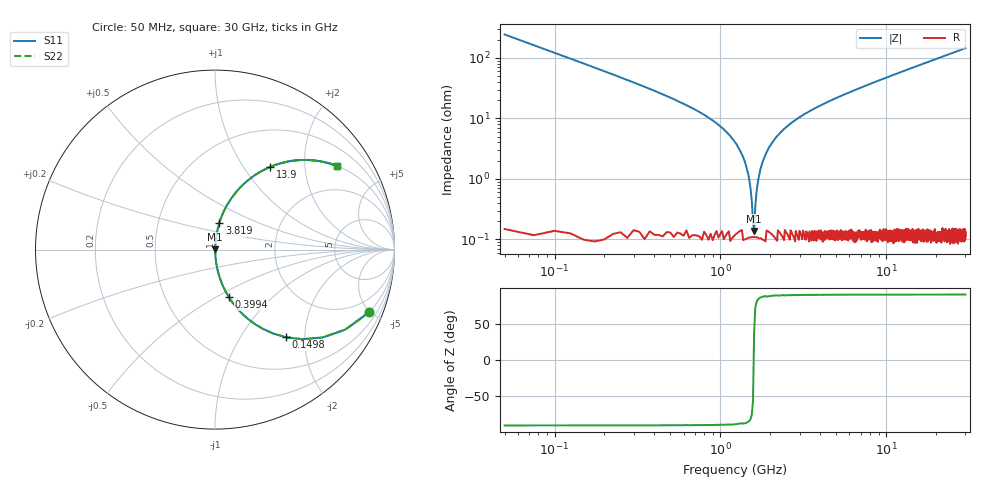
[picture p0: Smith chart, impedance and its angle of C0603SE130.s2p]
!	AVX Thin Film Operation 	Date: April 2014
!	Description: Accu-P® Series, Thin Film  SMD RF Capacitor
!	Part Number: 06035J130FBSTR
# MHZ S MA R 50
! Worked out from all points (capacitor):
!   1201 points, 50 MHz to 30 GHz, reference 50 ohm
!   read as one part in series: C = 13 pF near 199.8 MHz
!   lowest |Z| = 137 mohm at 1.597 GHz (marker M1)
!   series resonance near 1.589 GHz, so ESL is about 770 pH
!   S11 on the Smith chart (normalised r, x): 50 MHz: 1.01, -4.89; 149.8 MHz: 1.00, -1.62; 399.4 MHz: 1.00, -0.57; 3.819 GHz: 1.00, +0.31; 13.9 GHz: 1.00, +1.33; 30 GHz: 1.00, +2.90
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50  0.925 -22.2  0.378 67.7  0.378 67.7  0.925 -22.2
149.833  0.629 -50.9  0.777 39.0  0.777 39.0  0.629 -50.9
274.625  0.397 -66.5  0.917 23.4  0.917 23.4  0.397 -66.5
399.417  0.276 -73.8  0.96 16.0  0.96 16.0  0.276 -73.8
698.917  0.14 -81.5  0.989 8.0  0.989 8.0  0.14 -81.5
1173.125  0.047 -85.9  0.998 2.7  0.998 2.7  0.047 -85.9
1347.833  0.025 -85.9  0.998 1.5  0.998 1.5  0.025 -85.9
1497.583  0.009185 -82.1  0.999 0.5  0.999 0.5  0.009185 -82.1
1597.417  0.001442 35.1  0.999 -0.0  0.999 -0.0  0.001442 35.1
1697.25  0.01 82.8  0.999 -0.6  0.999 -0.6  0.01 82.8
1797.083  0.019 85.4  0.999 -1.1  0.999 -1.1  0.019 85.4
1896.917  0.027 86.0  0.998 -1.6  0.998 -1.6  0.027 86.0
2246.333  0.054 85.6  0.997 -3.1  0.997 -3.1  0.054 85.6
2845.333  0.094 83.9  0.994 -5.4  0.994 -5.4  0.094 83.9
3818.708  0.151 80.9  0.987 -8.7  0.987 -8.7  0.151 80.9
5041.667  0.215 77.3  0.975 -12.4  0.975 -12.4  0.215 77.3
10058.29  0.429 64.4  0.902 -25.4  0.902 -25.4  0.429 64.4
13901.88  0.554 56.3  0.832 -33.6  0.832 -33.6  0.554 56.3
15025  0.584 54.2  0.811 -35.7  0.811 -35.7  0.584 54.2
20016.67  0.694 46.0  0.719 -43.9  0.719 -43.9  0.694 46.0
25033.29  0.77 39.6  0.637 -50.4  0.637 -50.4  0.77 39.6
30000  0.823 34.6  0.567 -55.4  0.567 -55.4  0.823 34.6
